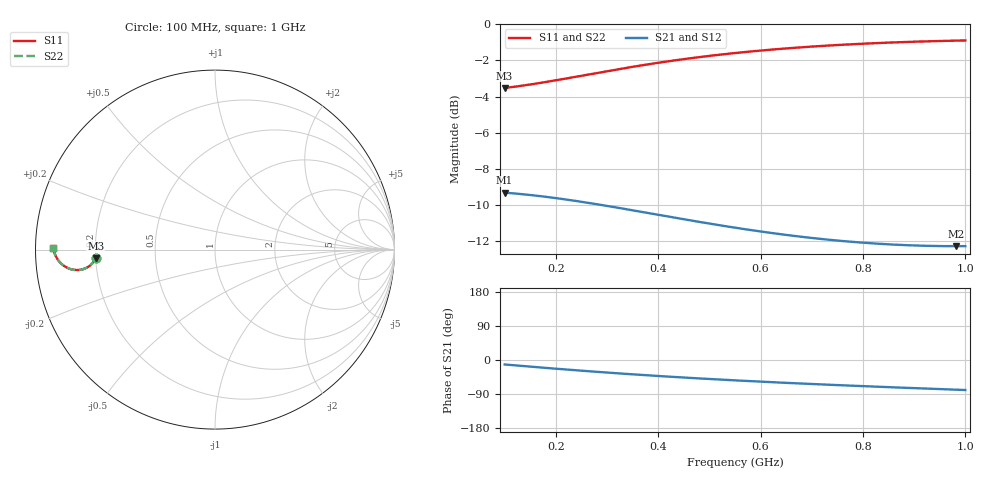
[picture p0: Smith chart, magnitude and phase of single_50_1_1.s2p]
! Created with skrf (http://scikit-rf.org).
# MHz S RI R 376.73031366686166
!freq ReS11 ImS11 ReS21 ImS21 ReS12 ImS12 ReS22 ImS22
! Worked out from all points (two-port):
!   300 points, 100 MHz to 1 GHz, reference 376.73 ohm
!   highest |S21| = -9.31 dB at 100 MHz (marker M1); lowest = -12.3 dB at 981.9 MHz (marker M2)
!   |S21| within 3 dB of the highest: start of sweep to end of sweep
!   lowest |S11| = -3.5 dB at 100 MHz (marker M3), VSWR 4.99, Z = 75.6 - j13.3 ohm
!   |S11| at or under -10 dB: nowhere
!   |S22| runs from -3.5 to -0.9 dB; largest |S21 - S12| = 5.5e-16
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100  -0.6644 -0.049  0.3352 -0.07  0.3352 -0.07  -0.6644 -0.049
139.1304  -0.6742 -0.0656  0.3251 -0.0948  0.3251 -0.0948  -0.6742 -0.0656
178.2609  -0.6864 -0.08  0.3124 -0.1176  0.3124 -0.1176  -0.6864 -0.08
214.3813  -0.6993 -0.0911  0.2991 -0.1363  0.2991 -0.1363  -0.6993 -0.0911
250.5017  -0.7132 -0.0999  0.2845 -0.1529  0.2845 -0.1529  -0.7132 -0.0999
286.6221  -0.7277 -0.1065  0.2693 -0.1673  0.2693 -0.1673  -0.7277 -0.1065
322.7425  -0.7425 -0.1109  0.2536 -0.1797  0.2536 -0.1797  -0.7425 -0.1109
361.8729  -0.7584 -0.1135  0.2367 -0.1909  0.2367 -0.1909  -0.7584 -0.1135
401.0033  -0.7739 -0.1138  0.22 -0.2  0.22 -0.2  -0.7739 -0.1138
437.1237  -0.7876 -0.1125  0.205 -0.2069  0.205 -0.2069  -0.7876 -0.1125
473.2441  -0.8007 -0.1098  0.1906 -0.2125  0.1906 -0.2125  -0.8007 -0.1098
512.3746  -0.8139 -0.1054  0.1757 -0.2173  0.1757 -0.2173  -0.8139 -0.1054
551.505  -0.8262 -0.0999  0.1616 -0.2211  0.1616 -0.2211  -0.8262 -0.0999
587.6254  -0.8366 -0.0938  0.1493 -0.2239  0.1493 -0.2239  -0.8366 -0.0938
626.7559  -0.847 -0.0865  0.1367 -0.2262  0.1367 -0.2262  -0.847 -0.0865
662.8763  -0.8556 -0.0791  0.1258 -0.228  0.1258 -0.228  -0.8556 -0.0791
702.0067  -0.8641 -0.0704  0.1146 -0.2295  0.1146 -0.2295  -0.8641 -0.0704
777.2575  -0.8779 -0.0525  0.0949 -0.2319  0.0949 -0.2319  -0.8779 -0.0525
852.5084  -0.8885 -0.0333  0.077 -0.2341  0.077 -0.2341  -0.8885 -0.0333
918.7291  -0.8954 -0.0154  0.0624 -0.2362  0.0624 -0.2362  -0.8954 -0.0154
981.9398  -0.9 0.00223  0.0492 -0.2387  0.0492 -0.2387  -0.9 0.00223
1000  -0.901 0.00738  0.0455 -0.2395  0.0455 -0.2395  -0.901 0.00738
